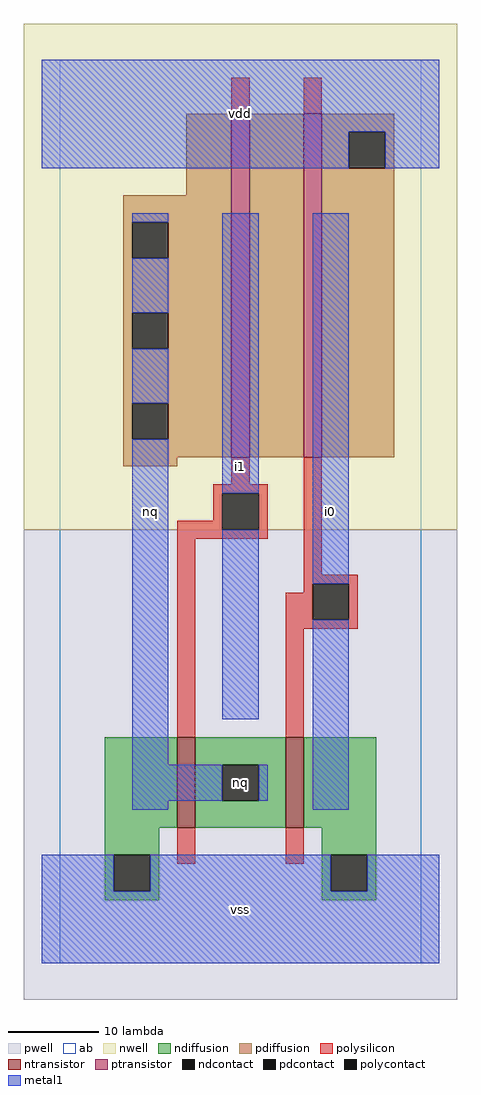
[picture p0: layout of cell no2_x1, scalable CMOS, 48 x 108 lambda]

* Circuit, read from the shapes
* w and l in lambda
.subckt no2_x1 i0 i1 nq vdd vss
M1 nq i1 vss VSUBS nfet w=10 l=2
M2 vss i0 nq VSUBS nfet w=10 l=2
M3 n1 i1 nq n2 pfet w=38 l=2
M4 vdd i0 n1 n2 pfet w=38 l=2
.ends

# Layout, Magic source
magic
tech scmos
<< ab >>
rect 0 0 40 100
<< pwell >>
rect -4 -4 44 48
<< nwell >>
rect -4 48 44 104
<< polysilicon >>
rect 19 94 21 98
rect 27 94 29 98
rect 19 53 21 56
rect 17 52 23 53
rect 17 49 18 52
rect 13 48 18 49
rect 22 48 23 52
rect 13 47 23 48
rect 13 25 15 47
rect 27 43 29 56
rect 27 42 33 43
rect 27 41 28 42
rect 25 38 28 41
rect 32 38 33 42
rect 25 37 33 38
rect 25 25 27 37
rect 13 11 15 15
rect 25 11 27 15
<< ndiffusion >>
rect 5 15 13 25
rect 15 22 25 25
rect 15 18 18 22
rect 22 18 25 22
rect 15 15 25 18
rect 27 15 35 25
rect 5 12 11 15
rect 5 8 6 12
rect 10 8 11 12
rect 29 12 35 15
rect 5 7 11 8
rect 29 8 30 12
rect 34 8 35 12
rect 29 7 35 8
<< pdiffusion >>
rect 14 85 19 94
rect 7 82 19 85
rect 7 78 8 82
rect 12 78 19 82
rect 7 72 19 78
rect 7 68 8 72
rect 12 68 19 72
rect 7 62 19 68
rect 7 58 8 62
rect 12 58 19 62
rect 7 56 19 58
rect 21 56 27 94
rect 29 92 37 94
rect 29 88 32 92
rect 36 88 37 92
rect 29 56 37 88
rect 7 55 13 56
<< metal1 >>
rect -2 92 42 100
rect -2 88 32 92
rect 36 88 42 92
rect 8 82 12 83
rect 8 72 12 78
rect 8 62 12 68
rect 8 22 12 58
rect 18 52 22 83
rect 18 27 22 48
rect 28 42 32 83
rect 8 18 18 22
rect 22 18 23 22
rect 8 17 12 18
rect 28 17 32 38
rect -2 8 6 12
rect 10 8 30 12
rect 34 8 42 12
rect -2 0 42 8
<< ntransistor >>
rect 13 15 15 25
rect 25 15 27 25
<< ptransistor >>
rect 19 56 21 94
rect 27 56 29 94
<< polycontact >>
rect 18 48 22 52
rect 28 38 32 42
<< ndcontact >>
rect 18 18 22 22
rect 6 8 10 12
rect 30 8 34 12
<< pdcontact >>
rect 8 78 12 82
rect 8 68 12 72
rect 8 58 12 62
rect 32 88 36 92
<< labels >>
rlabel metal1 10 50 10 50 6 nq
rlabel ndcontact 20 20 20 20 6 nq
rlabel metal1 20 6 20 6 6 vss
rlabel metal1 20 55 20 55 6 i1
rlabel metal1 20 94 20 94 6 vdd
rlabel metal1 30 50 30 50 6 i0
<< end >>
